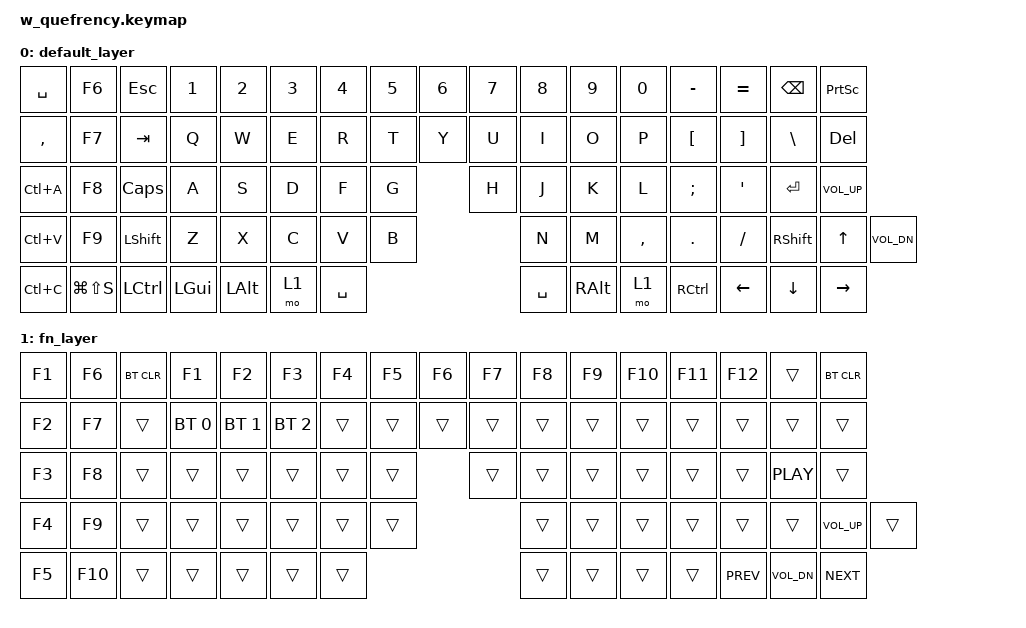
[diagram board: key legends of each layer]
/*
 * Copyright (c) 2020 The ZMK Contributors
 *
 * SPDX-License-Identifier: MIT
 */

#include <behaviors.dtsi>
#include <dt-bindings/zmk/bt.h>
#include <dt-bindings/zmk/keys.h>

/ {
    keymap {
        compatible = "zmk,keymap";

//---------------------------------------------------------      -----------------------------------------------------
//| F1  | F6  || ESC  |  1   |  2  |  3   |  4  |  5  |  6  |      |  7  |  8  |  9  |  0  |  -  |  =  |  BKSPC |PSCRN |
//| F2  | F7  || TAB   |  Q   |  W  |  E   |  R  |  T  |        |  Y  |  U  |  I  |  O  |  P  |  [  |  ]  |  \  | DEL  |
//| F3  | F8  || CAPS  |  A   |  S  |  D   |  F  |  G  |         |  H  |  J  |  K  |  L  |  ;  |  '  |   ENTER  | VLUP |
//| F4  | F9  || SHIFT   |  Z   |  X  |  C  |  V   |  B  |        |  N  |  M  |  ,  |  .  |  /  |  RSHFT  |  UP | VLDN |
//| F5  | F10 || LCTRL   | LGUI | LALT |   SPACE   | FN  |        |    SPACE    | RALT | FN | RCTRL | LFT | DWN | RGHT |
// -----------------------------------------------------        ------------------------------------------------------

        default_layer {
            bindings = <
    &kp SPACE   &kp F6   &kp ESC   &kp N1   &kp N2   &kp N3    &kp N4 &kp N5 &kp N6 /**/ &kp N7    &kp N8   &kp N9    &kp N0    &kp MINUS &kp EQUAL &kp BSPC &kp PSCRN
    &kp COMMA       &kp F7   &kp TAB   &kp Q    &kp W    &kp E     &kp R  &kp T         /**/ &kp Y     &kp U    &kp I     &kp O     &kp P     &kp LBKT  &kp RBKT &kp BSLH &kp DEL
    &kp LC(A)       &kp F8   &kp CAPS &kp A    &kp S    &kp D     &kp F  &kp G         /**/ &kp H     &kp J    &kp K     &kp L     &kp SEMI  &kp SQT   &kp RET  &kp C_VOL_UP
    &kp LC(V)       &kp F9   &kp LSHFT &kp Z    &kp X    &kp C     &kp V  &kp B         /**/ &kp N     &kp M    &kp COMMA &kp DOT   &kp FSLH  &kp RSHFT &kp UP   &kp C_VOL_DN
    &kp LC(C)       &kp LG(LS(S))  &kp LCTRL &kp LGUI &kp LALT &mo 1 &kp SPACE                /**/ &kp SPACE &kp RALT &mo 1     &kp RCTRL &kp LEFT  &kp DOWN  &kp RIGHT
            >;
        };

// -----------------------------------------------------------     -----------------------------------------------------
// | F1  | F6  ||BT_CLR|  F1  |  F2 |  F3  |  F4 |  F5 |  F6 |     |  F7 |  F8 |  F9 | F10 | F11 | F12 |        |BT_CLR|
// | F2  | F7  ||       | BT-0 | BT-1| BT-2 |     |     |       |     |     |     |     |     |     |     |     |      |
// | F3  | F8  ||        |      |     |      |     |     |       |     |     |     |     |     |     |   PLAY   |      |
// | F4  | F9  ||         |      |     |     |      |     |       |     |     |     |     |     |         |     |      |
// | F5  | F10 ||         |      |      |           |     |       |             |      |    |       | NXT |     | PRV  |
// -------------------------------------------       ------------------------------------------------------

        fn_layer {
            bindings = <
    &kp F1   &kp F6 &bt BT_CLR &kp F1       &kp F2       &kp F3       &kp F4 &kp F5 &kp F6 /**/ &kp F7 &kp F8 &kp F9 &kp F10 &kp F11 &kp F12 &trans &bt BT_CLR
    &kp F2   &kp F7 &trans     &bt BT_SEL 0 &bt BT_SEL 1 &bt BT_SEL 2 &trans &trans        /**/ &trans &trans &trans &trans  &trans  &trans  &trans &trans &trans
    &kp F3   &kp F8 &trans     &trans       &trans       &trans       &trans &trans        /**/ &trans &trans &trans &trans  &trans  &trans  &kp C_PLAY &trans
    &kp F4   &kp F9 &trans     &trans       &trans       &trans       &trans &trans        /**/ &trans &trans &trans &trans  &trans  &trans  &kp C_VOL_UP &trans
    &kp F5   &kp F10 &trans     &trans       &trans       &trans       &trans               /**/ &trans &trans &trans &trans  &kp C_PREV  &kp C_VOL_DN  &kp C_NEXT
            >;
        };
    };
};
